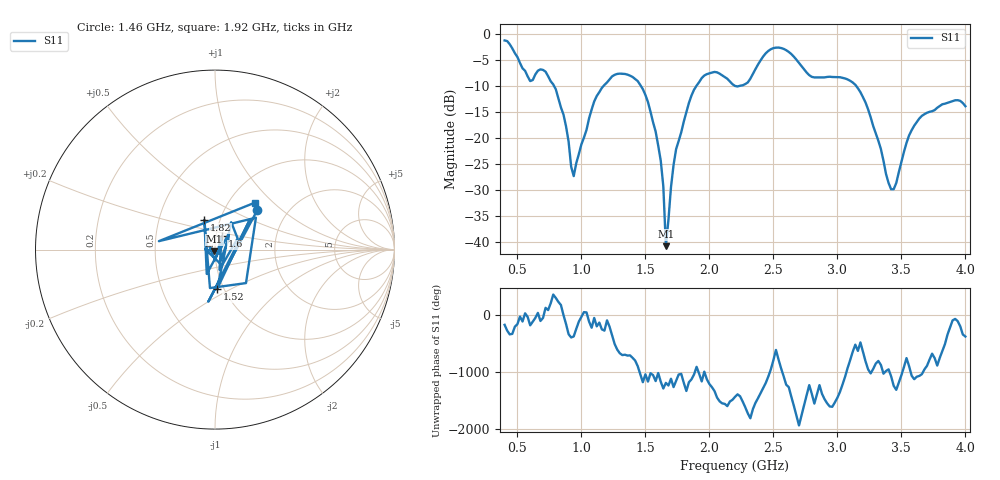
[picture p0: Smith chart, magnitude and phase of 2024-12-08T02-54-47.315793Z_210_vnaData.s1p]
!Created with skrf (http://scikit-rf.org).
# Hz S RI R 50.0
!freq ReS11 ImS11
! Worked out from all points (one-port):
!   181 points, 400 MHz to 4 GHz, reference 50 ohm
!   lowest |S11| = -40.8 dB at 1.66 GHz (marker M1), VSWR 1.02, Z = 49.7 - j0.858 ohm
!   |S11| at or under -10 dB: 785.1 MHz to 1.175 GHz (390 MHz wide, 39.8 % of centre); 1.463 GHz to 1.9 GHz (436.9 MHz wide, 26 % of centre); 3.145 GHz to end of sweep (the widest 3 of 4)
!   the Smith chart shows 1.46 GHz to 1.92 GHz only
!   S11 on the Smith chart (normalised r, x): 1.46 GHz: 1.42, +0.69; 1.52 GHz: 0.93, -0.43; 1.6 GHz: 1.07, +0.16; 1.82 GHz: 0.84, +0.29; 1.92 GHz: 1.31, +0.77
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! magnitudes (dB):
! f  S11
! 400 MHz  -1.3
! 600 MHz  -9.1
! 720 MHz  -7.3
! 860 MHz  -15.5
! 940 MHz  -27.3
! 1.1 GHz  -13.0
! 1.3 GHz  -7.7
! 1.46 GHz  -9.9
! 1.52 GHz  -13.1
! 1.6 GHz  -21.5
! 1.64 GHz  -29.3
! 1.66 GHz  -40.8
! 1.72 GHz  -25.2
! 1.76 GHz  -20.6
! 1.82 GHz  -15.1
! 1.92 GHz  -9.3
! 2.04 GHz  -7.4
! 2.2 GHz  -10.1
! 2.3 GHz  -9.4
! 2.48 GHz  -3.0
! 2.66 GHz  -4.5
! 2.8 GHz  -8.3
! 3.1 GHz  -9.1
! 3.22 GHz  -13.2
! 3.42 GHz  -29.9
! 3.56 GHz  -19.5
! 3.82 GHz  -13.6
! 4 GHz  -13.9
